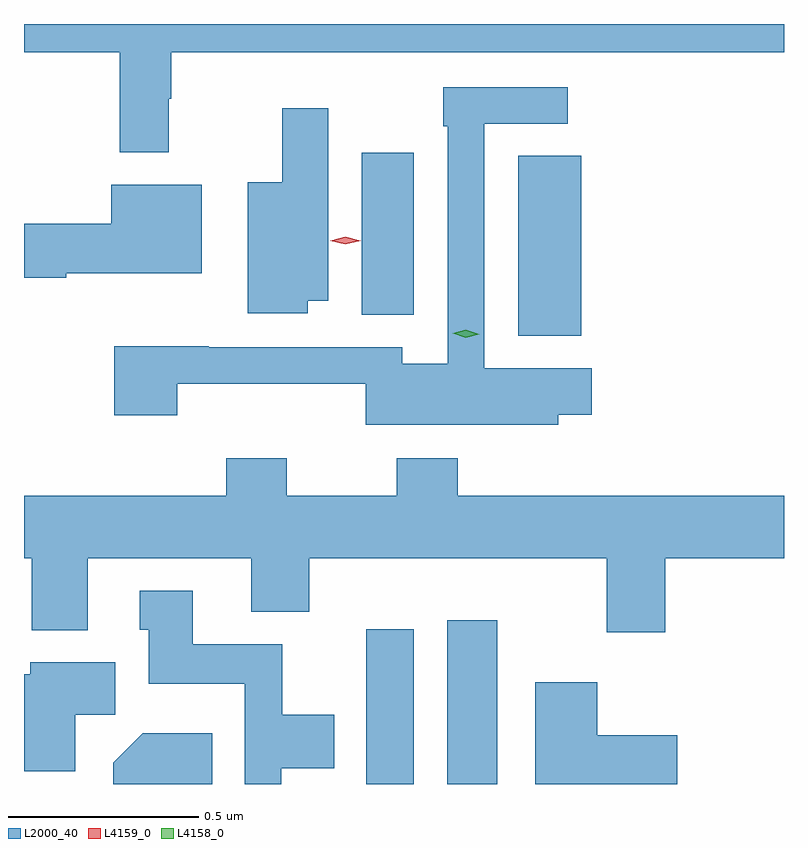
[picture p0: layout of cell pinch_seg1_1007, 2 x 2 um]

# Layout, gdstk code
import gdstk
lib = gdstk.Library(unit=1e-6, precision=1e-09)
def R(c, l, rs):  # rectangles x0, y0, x1, y1
    for r in rs: c.add(gdstk.rectangle(r[:2], r[2:], *l))
def P(c, l, *ps):  # polygons
    for p in ps: c.add(gdstk.Polygon(p, *l))
L2000_40 = (2000, 40)
L4158_0 = (4158, 0)
L4159_0 = (4159, 0)

pinch_seg1_1007 = lib.new_cell('pinch_seg1_1007')
R(pinch_seg1_1007, L2000_40, [(262.376,520.502,262.501,520.909), (262.589,520.502,262.72,520.933), (262.775,521.681,262.942,522.155), (262.364,521.737,262.501,522.163)])
P(pinch_seg1_1007, L2000_40, [(261.856,522.305),(261.863,522.305),(261.863,522.428),(263.475,522.428),(263.475,522.502),(261.475,522.502),(261.475,522.428),(261.727,522.428),(261.727,522.165),(261.856,522.165)],
  [(262.881,521.474),(262.969,521.474),(262.969,521.596),(262.686,521.596),(262.686,522.24),(262.906,522.24),(262.906,522.336),(262.578,522.336),(262.578,522.233),(262.59,522.233),(262.59,521.608),(262.47,521.608),(262.47,521.652),(261.961,521.652),(261.961,521.654),(261.713,521.654),(261.713,521.472),(261.878,521.472),(261.878,521.555),(262.374,521.555),(262.374,521.447),(262.881,521.447)],
  [(262.222,521.774),(262.276,521.774),(262.276,522.28),(262.154,522.28),(262.154,522.085),(262.064,522.085),(262.064,521.741),(262.222,521.741)],
  [(261.586,521.846),(261.943,521.846),(261.943,522.079),(261.704,522.079),(261.704,521.976),(261.475,521.976),(261.475,521.834),(261.586,521.834)],
  [(263.162,521.096),(263.475,521.096),(263.475,521.26),(262.616,521.26),(262.616,521.359),(262.456,521.359),(262.456,521.26),(262.167,521.26),(262.167,521.359),(262.007,521.359),(262.007,521.26),(261.475,521.26),(261.475,521.096),(261.496,521.096),(261.496,520.907),(261.643,520.907),(261.643,521.096),(262.073,521.096),(262.073,520.955),(262.226,520.955),(262.226,521.096),(263.009,521.096),(263.009,520.902),(263.162,520.902)],
  [(262.152,520.544),(262.291,520.544),(262.291,520.684),(262.155,520.684),(262.155,520.87),(261.919,520.87),(261.919,521.011),(261.779,521.011),(261.779,520.908),(261.803,520.908),(261.803,520.766),(262.056,520.766),(262.056,520.502),(262.152,520.502)],
  [(261.61,520.684),(261.715,520.684),(261.715,520.822),(261.492,520.822),(261.492,520.791),(261.475,520.791),(261.475,520.677),(261.476,520.677),(261.476,520.536),(261.61,520.536)],
  [(263.194,520.63),(262.984,520.63),(262.984,520.77),(262.82,520.77),(262.82,520.502),(263.194,520.502)],
  [(261.971,520.636),(261.788,520.636),(261.71,520.558),(261.71,520.502),(261.971,520.502)])
P(pinch_seg1_1007, L4158_0, [(262.637,521.677),(262.603,521.688),(262.603,521.688),(262.603,521.688),(262.638,521.697),(262.673,521.686),(262.673,521.686),(262.673,521.686)])
P(pinch_seg1_1007, L4159_0, [(262.321,521.922),(262.281,521.931),(262.281,521.932),(262.281,521.932),(262.321,521.942),(262.361,521.932),(262.361,521.932),(262.361,521.931)])

lib.write_gds('pinch_seg1_1007.gds')
